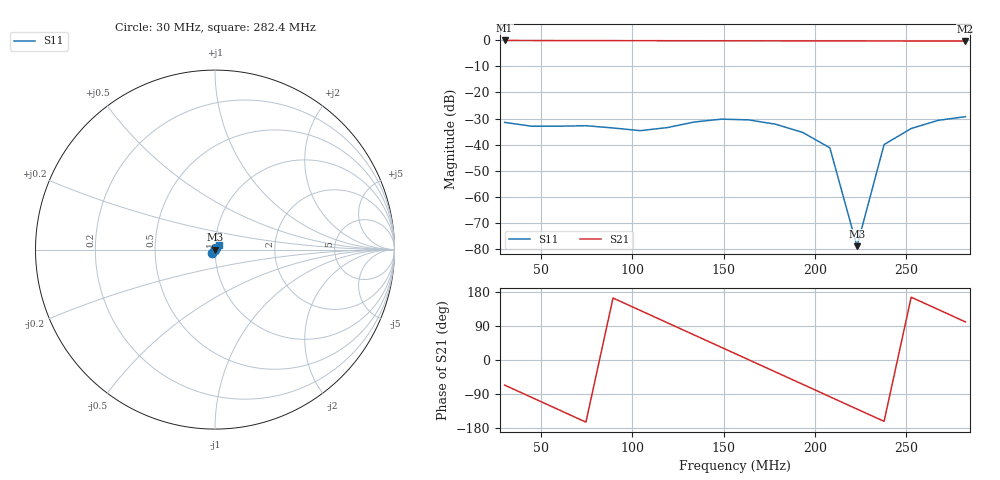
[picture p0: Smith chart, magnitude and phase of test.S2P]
!Agilent Technologies,E5061B,MY49304813,A.02.21
!Date: Sun Jun 23 21:38:15 2019
!Data & Calibration Information:
!Freq	S11:SOLT2(OFF)	S21:SOLT2(OFF)	S12:SOLT2(OFF)	S22:SOLT2(OFF)
# Hz S dB R 50
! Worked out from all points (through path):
!   18 points, 30 MHz to 282.4 MHz, reference 50 ohm
!   highest |S21| = -0.09 dB at 30 MHz (marker M1); lowest = -0.3 dB at 282.4 MHz (marker M2)
!   lowest |S11| = -78.9 dB at 223.1 MHz (marker M3), VSWR 1.00, Z = 50 + j0.000559 ohm
!   |S11| at or under -10 dB: start of sweep to end of sweep
!   S12 and S22 are empty: the file has one direction only
3e7  -31.47 -128.0  -0.09 -66.2  -200.00 0.0  -200.00 0.0
4.485e7  -32.95 154.8  -0.11 -98.8  -200.00 0.0  -200.00 0.0
5.97e7  -32.93 76.2  -0.13 -131.4  -200.00 0.0  -200.00 0.0
7.455e7  -32.75 5.3  -0.15 -163.9  -200.00 0.0  -200.00 0.0
8.94e7  -33.61 -65.1  -0.16 163.5  -200.00 0.0  -200.00 0.0
1.0425e8  -34.64 -145.7  -0.18 131.0  -200.00 0.0  -200.00 0.0
1.191e8  -33.47 130.6  -0.19 98.4  -200.00 0.0  -200.00 0.0
1.3395e8  -31.33 61.2  -0.20 65.9  -200.00 0.0  -200.00 0.0
1.488e8  -30.22 1.9  -0.22 33.3  -200.00 0.0  -200.00 0.0
1.6365e8  -30.51 -53.9  -0.23 0.8  -200.00 0.0  -200.00 0.0
1.785e8  -32.18 -109.7  -0.24 -31.7  -200.00 0.0  -200.00 0.0
1.9335e8  -35.33 -167.0  -0.26 -64.2  -200.00 0.0  -200.00 0.0
2.082e8  -41.21 133.7  -0.26 -96.9  -200.00 0.0  -200.00 0.0
2.2305e8  -78.88 177.2  -0.27 -129.4  -200.00 0.0  -200.00 0.0
2.379e8  -39.97 -161.4  -0.29 -161.9  -200.00 0.0  -200.00 0.0
2.5275e8  -33.81 146.8  -0.30 165.7  -200.00 0.0  -200.00 0.0
2.676e8  -30.68 97.8  -0.31 133.2  -200.00 0.0  -200.00 0.0
2.8245e8  -29.28 51.6  -0.32 100.6  -200.00 0.0  -200.00 0.0
